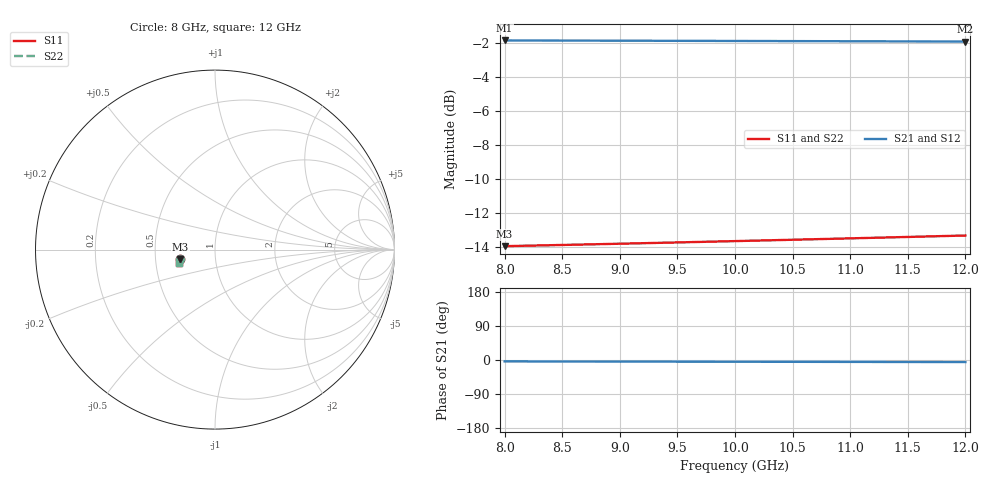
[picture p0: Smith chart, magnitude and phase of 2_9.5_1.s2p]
! Created Mon Oct 19 10:34:16 2020
# ghz S db R 50
! 2 Port Network Data from SP1.SP block
! freq  dbS11  angS11  dbS21  angS21  dbS12  angS12  dbS22  angS22
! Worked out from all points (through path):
!   9 points, 8 GHz to 12 GHz, reference 50 ohm
!   highest |S21| = -1.85 dB at 8 GHz (marker M1); lowest = -1.9 dB at 12 GHz (marker M2)
!   lowest |S11| = -13.9 dB at 8 GHz (marker M3), VSWR 1.50, Z = 33.6 - j3.65 ohm
!   |S11| at or under -10 dB: start of sweep to end of sweep
!   |S22| runs from -13.9 to -13.3 dB; largest |S21 - S12| = 0
8  -13.94 -165.0  -1.85 -3.7  -1.85 -3.7  -13.94 -165.0
8.5  -13.87 -164.2  -1.86 -3.9  -1.86 -3.9  -13.87 -164.2
9  -13.80 -163.4  -1.87 -4.1  -1.87 -4.1  -13.80 -163.4
9.5  -13.72 -162.7  -1.88 -4.4  -1.88 -4.4  -13.72 -162.7
10  -13.64 -162.0  -1.88 -4.6  -1.88 -4.6  -13.64 -162.0
10.5  -13.56 -161.3  -1.89 -4.8  -1.89 -4.8  -13.56 -161.3
11  -13.48 -160.6  -1.90 -5.0  -1.90 -5.0  -13.48 -160.6
11.5  -13.40 -159.9  -1.91 -5.2  -1.91 -5.2  -13.40 -159.9
12  -13.32 -159.3  -1.92 -5.5  -1.92 -5.5  -13.32 -159.3
